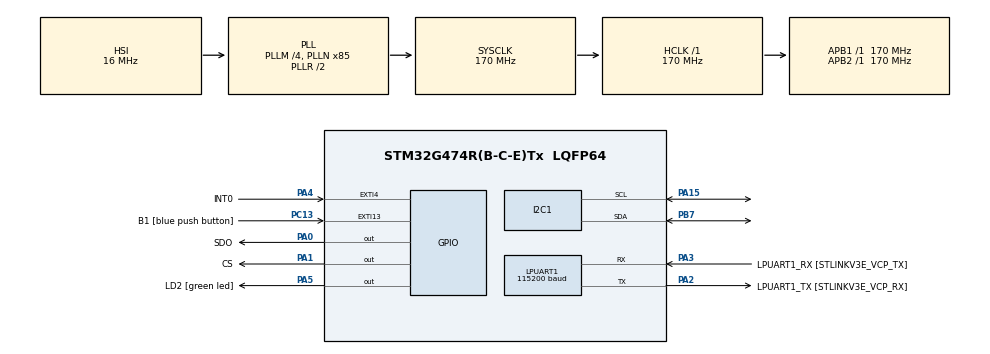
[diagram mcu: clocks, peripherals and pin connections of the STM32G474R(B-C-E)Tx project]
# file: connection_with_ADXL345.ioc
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Dma.I2C1_RX.0.Direction=DMA_PERIPH_TO_MEMORY
Dma.I2C1_RX.0.EventEnable=DISABLE
Dma.I2C1_RX.0.Instance=DMA1_Channel1
Dma.I2C1_RX.0.MemDataAlignment=DMA_MDATAALIGN_BYTE
Dma.I2C1_RX.0.MemInc=DMA_MINC_ENABLE
Dma.I2C1_RX.0.Mode=DMA_NORMAL
Dma.I2C1_RX.0.PeriphDataAlignment=DMA_PDATAALIGN_BYTE
Dma.I2C1_RX.0.PeriphInc=DMA_PINC_DISABLE
Dma.I2C1_RX.0.Polarity=HAL_DMAMUX_REQ_GEN_RISING
Dma.I2C1_RX.0.Priority=DMA_PRIORITY_LOW
Dma.I2C1_RX.0.RequestNumber=1
Dma.I2C1_RX.0.SignalID=NONE
Dma.I2C1_RX.0.SyncEnable=DISABLE
Dma.I2C1_RX.0.SyncPolarity=HAL_DMAMUX_SYNC_NO_EVENT
Dma.I2C1_RX.0.SyncRequestNumber=1
Dma.I2C1_RX.0.SyncSignalID=NONE
Dma.Request0=I2C1_RX
I2C1.Speed=100
I2C1.Timing=0x30A0A7FB
LPUART1.BaudRate=115200
LPUART1.WordLength=UART_WORDLENGTH_8B
Mcu.Family=STM32G4
Mcu.Name=STM32G474R(B-C-E)Tx
Mcu.Package=LQFP64
NVIC.DMA1_Channel1_IRQn=true\:0\:0\:false\:false\:true\:false\:true\:true
NVIC.EXTI15_10_IRQn=true\:0\:0\:false\:false\:true\:true\:true\:true
NVIC.EXTI4_IRQn=true\:0\:0\:false\:false\:true\:true\:true\:true
NVIC.I2C1_ER_IRQn=true\:0\:0\:false\:false\:true\:true\:true\:true
NVIC.I2C1_EV_IRQn=true\:0\:0\:false\:false\:true\:true\:true\:true
NVIC.LPUART1_IRQn=true\:0\:0\:false\:false\:true\:true\:true\:true
NVIC.PriorityGroup=NVIC_PRIORITYGROUP_4
NVIC.TIM6_DAC_IRQn=true\:0\:0\:false\:false\:true\:true\:true\:true
PA0.GPIO_Label=SDO
PA0.Signal=GPIO_Output
PA1.GPIO_Label=CS
PA1.Signal=GPIO_Output
PA13.GPIO_Label=T_SWDIO
PA13.Mode=Serial_Wire
PA13.Signal=SYS_JTMS-SWDIO
PA14.GPIO_Label=T_SWCLK
PA14.Mode=Serial_Wire
PA14.Signal=SYS_JTCK-SWCLK
PA15.Mode=I2C
PA15.Signal=I2C1_SCL
PA2.GPIO_Label=LPUART1_TX [STLINKV3E_VCP_RX]
PA2.Mode=Asynchronous
PA2.Signal=LPUART1_TX
PA3.GPIO_Label=LPUART1_RX [STLINKV3E_VCP_TX]
PA3.Mode=Asynchronous
PA3.Signal=LPUART1_RX
PA4.GPIO_Label=INT0
PA4.Signal=GPXTI4
PA5.GPIO_Label=LD2 [green led]
PA5.Signal=GPIO_Output
PB3.GPIO_Label=T_SWO
PB3.Signal=SYS_JTDO-SWO
PB7.Mode=I2C
PB7.Signal=I2C1_SDA
PC13.GPIO_Label=B1 [blue push button]
PC13.Signal=GPXTI13
PC14-OSC32_IN.Mode=LSE-External-Oscillator
PC14-OSC32_IN.Signal=RCC_OSC32_IN
PC15-OSC32_OUT.Mode=LSE-External-Oscillator
PC15-OSC32_OUT.Signal=RCC_OSC32_OUT
PF0-OSC_IN.Mode=HSE-External-Oscillator
PF0-OSC_IN.Signal=RCC_OSC_IN
PF1-OSC_OUT.Mode=HSE-External-Oscillator
PF1-OSC_OUT.Signal=RCC_OSC_OUT
ProjectManager.HeapSize=0x200
ProjectManager.StackSize=0x400
ProjectManager.TargetToolchain=STM32CubeIDE
RCC.ADC12Freq_Value=170000000
RCC.ADC345Freq_Value=170000000
RCC.AHBFreq_Value=170000000
RCC.APB1Freq_Value=170000000
RCC.APB1TimFreq_Value=170000000
RCC.APB2Freq_Value=170000000
RCC.APB2TimFreq_Value=170000000
RCC.CortexFreq_Value=170000000
RCC.EXTERNAL_CLOCK_VALUE=12288000
RCC.HCLKFreq_Value=170000000
RCC.HSE_VALUE=24000000
RCC.HSI48_VALUE=48000000
RCC.HSI_VALUE=16000000
RCC.PLLM=RCC_PLLM_DIV4
RCC.PLLN=85
RCC.RTCClockSelection=RCC_RTCCLKSOURCE_LSE
RCC.SYSCLKFreq_VALUE=170000000
RCC.SYSCLKSource=RCC_SYSCLKSOURCE_PLLCLK
RCC.USBFreq_Value=170000000
RCC.VCOOutputFreq_Value=340000000
TIM6.PeriodNoDither=1000
TIM6.Prescaler=170
VP_SYS_VS_DBSignals.Mode=DisableDeadBatterySignals
VP_TIM6_VS_ClockSourceINT.Mode=Enable_Timer
board=NUCLEO-G474RE

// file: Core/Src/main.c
/* USER CODE BEGIN Header */
/**
  ******************************************************************************
  * @file           : main.c
  * @brief          : Main program body
  ******************************************************************************
  * @attention
  *
  * Copyright (c) 2026 STMicroelectronics.
  * All rights reserved.
  *
  * This software is licensed under terms that can be found in the LICENSE file
  * in the root directory of this software component.
  * If no LICENSE file comes with this software, it is provided AS-IS.
  *
  ******************************************************************************
  */
/* USER CODE END Header */
#include "main.h"
#include "dma.h"
#include "i2c.h"
#include "usart.h"
#include "tim.h"
#include "gpio.h"

/* USER CODE BEGIN Includes */
#include "stdio.h"
#include "ADXL_driver_interface.h"
#include "ADXL_i2c_conn.h"
#include "MeasurementFSM.h"
/* USER CODE END Includes */

/* USER CODE BEGIN PV */
volatile uint8_t my_ctr = 0;
/* USER CODE END PV */

void SystemClock_Config(void);

/* USER CODE BEGIN 0 */
void HAL_GPIO_EXTI_Callback(uint16_t GPIO_Pin)
{
  if (GPIO_Pin == B1_Pin) {
	  my_ctr++;
  }
  else if(GPIO_Pin == INT0_Pin)
  {
	  ADXL_INT1InterruptHandler();
  }
}

void HAL_I2C_MemTxCpltCallback(I2C_HandleTypeDef *hi2c)
{
	if(hi2c == &hi2c1)
	{
		ADXL_I2CTxComplete();
	}
}

void HAL_I2C_MemRxCpltCallback(I2C_HandleTypeDef *hi2c)
{
	if(hi2c == &hi2c1)
	{
		ADXL_I2CRxComplete();
	}
}

void HAL_UART_TxCpltCallback(UART_HandleTypeDef *huart)
{
	MeasurementTransmitCompleted();
}

void HAL_UART_RxCpltCallback(UART_HandleTypeDef *huart)
{
	MeasurementRxCompleted();
}

void meas_error_handler()
{

}

/* USER CODE END 0 */

int main(void)
{

  /* MCU Configuration--------------------------------------------------------*/

  /* Reset of all peripherals, Initializes the Flash interface and the Systick. */
  HAL_Init();

  /* Configure the system clock */
  SystemClock_Config();

  /* Initialize all configured peripherals */
  MX_GPIO_Init();
  MX_DMA_Init();
  MX_LPUART1_UART_Init();
  MX_I2C1_Init();
  MX_TIM6_Init();
  /* USER CODE BEGIN 2 */
  HAL_TIM_Base_Start_IT(&htim6);
  /* USER CODE END 2 */

  /* Infinite loop */
  /* USER CODE BEGIN WHILE */
  MeasurementInitStruct initdata = {16};

  Measurement_Init(&initdata, meas_error_handler);

  while (1)
  {
	  ADXL_task();
	  Measurement_task();

//	  if(ADXL_GetStreamStatus() == STREAM_COMPLETED)
//	  {
//		  captured_data = ADXL_GetStreamedData();
//		  HAL_UART_Transmit(&hlpuart1, captured_data, 96, 1000);
//		  ADXL_ReleaseDataBuffer();
//	  }
    /* USER CODE END WHILE */

  }
}

void SystemClock_Config(void)
{
  RCC_OscInitTypeDef RCC_OscInitStruct = {0};
  RCC_ClkInitTypeDef RCC_ClkInitStruct = {0};

  /** Configure the main internal regulator output voltage
  */
  HAL_PWREx_ControlVoltageScaling(PWR_REGULATOR_VOLTAGE_SCALE1_BOOST);

  /** Initializes the RCC Oscillators according to the specified parameters
  * in the RCC_OscInitTypeDef structure.
  */
  RCC_OscInitStruct.OscillatorType = RCC_OSCILLATORTYPE_HSI;
  RCC_OscInitStruct.HSIState = RCC_HSI_ON;
  RCC_OscInitStruct.HSICalibrationValue = RCC_HSICALIBRATION_DEFAULT;
  RCC_OscInitStruct.PLL.PLLState = RCC_PLL_ON;
  RCC_OscInitStruct.PLL.PLLSource = RCC_PLLSOURCE_HSI;
  RCC_OscInitStruct.PLL.PLLM = RCC_PLLM_DIV4;
  RCC_OscInitStruct.PLL.PLLN = 85;
  RCC_OscInitStruct.PLL.PLLP = RCC_PLLP_DIV2;
  RCC_OscInitStruct.PLL.PLLQ = RCC_PLLQ_DIV2;
  RCC_OscInitStruct.PLL.PLLR = RCC_PLLR_DIV2;
  if (HAL_RCC_OscConfig(&RCC_OscInitStruct) != HAL_OK)
  {
    Error_Handler();
  }

  /** Initializes the CPU, AHB and APB buses clocks
  */
  RCC_ClkInitStruct.ClockType = RCC_CLOCKTYPE_HCLK|RCC_CLOCKTYPE_SYSCLK
                              |RCC_CLOCKTYPE_PCLK1|RCC_CLOCKTYPE_PCLK2;
  RCC_ClkInitStruct.SYSCLKSource = RCC_SYSCLKSOURCE_PLLCLK;
  RCC_ClkInitStruct.AHBCLKDivider = RCC_SYSCLK_DIV1;
  RCC_ClkInitStruct.APB1CLKDivider = RCC_HCLK_DIV1;
  RCC_ClkInitStruct.APB2CLKDivider = RCC_HCLK_DIV1;

  if (HAL_RCC_ClockConfig(&RCC_ClkInitStruct, FLASH_LATENCY_4) != HAL_OK)
  {
    Error_Handler();
  }
}

void Error_Handler(void)
{
  __disable_irq();
  while (1)
  {
  }
}
